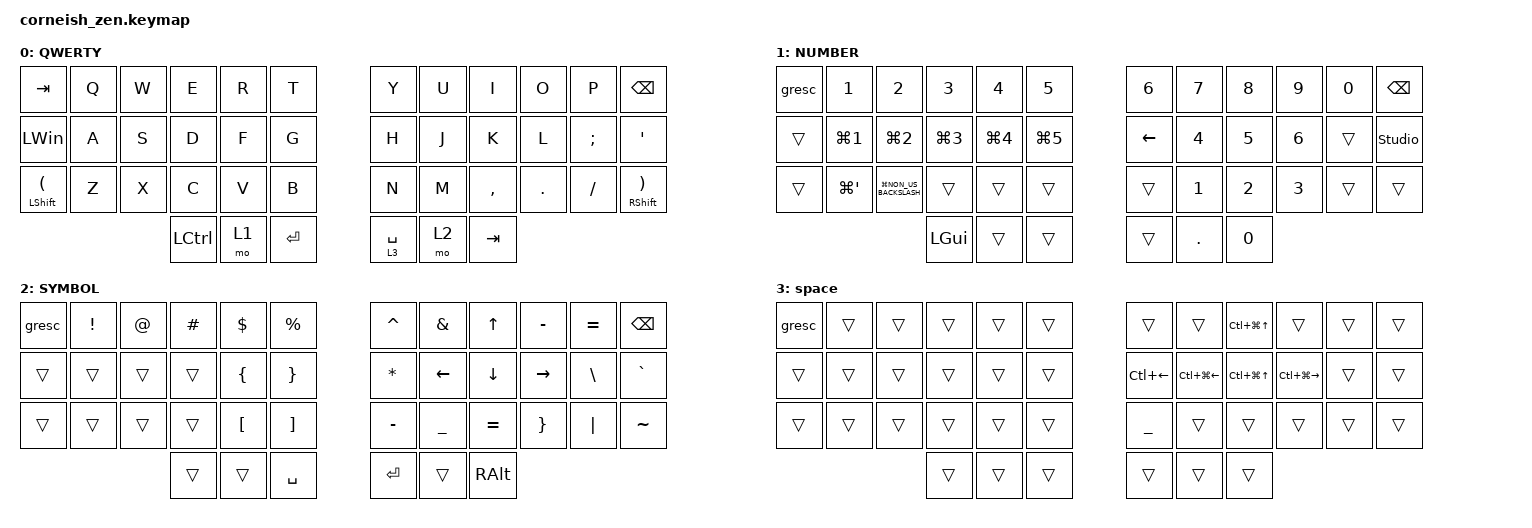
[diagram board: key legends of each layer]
#include <behaviors.dtsi>
#include <dt-bindings/zmk/keys.h>

/ {
    chosen {
        zmk,physical-layout = &foostan_corne_6col_layout;

        // zmk,physical-layout = &foostan_corne_5col_layout;
    };
};

/ {
    keymap {
        compatible = "zmk,keymap";

        default_layer {
            display-name = "QWERTY";

            // --------------------------------------------------------------------------------
            // |  TAB |  Q  |  W  |  E  |  R  |  T  |   |  Y  |  U   |  I  |  O  |  P  | BSPC |
            // | CTRL |  A  |  S  |  D  |  F  |  G  |   |  H  |  J   |  K  |  L  |  ;  |  '   |
            // | SHFT |  Z  |  X  |  C  |  V  |  B  |   |  N  |  M   |  ,  |  .  |  /  | ESC  |
            //                    | GUI | LWR | SPC |   | ENT | RSE  | ALT |

            bindings = <
&kp TAB                     &kp Q  &kp W  &kp E      &kp R  &kp T        &kp Y        &kp U  &kp I      &kp O    &kp P     &kp BSPC
&kp LEFT_WIN                &kp A  &kp S  &kp D      &kp F  &kp G        &kp H        &kp J  &kp K      &kp L    &kp SEMI  &kp SQT
&mt LSHFT LEFT_PARENTHESIS  &kp Z  &kp X  &kp C      &kp V  &kp B        &kp N        &kp M  &kp COMMA  &kp DOT  &kp FSLH  &mt RIGHT_SHIFT RIGHT_PARENTHESIS
                                          &kp LCTRL  &mo 1  &kp ENTER    &lt 3 SPACE  &mo 2  &kp TAB
            >;
        };

        lower_layer {
            display-name = "NUMBER";

            // -----------------------------------------------------------------------------------------
            // |  TAB |  1  |  2  |  3  |  4  |  5  |   |  6  |  7  |  8  |  9  |  0  | BSPC |
            // | BTCLR| BT1 | BT2 | BT3 | BT4 | BT5 |   | LFT | DWN |  UP | RGT |     |Studio|
            // | SHFT |     |     |     |     |     |   |     |     |     |     |     |      |
            //                    | GUI |     | SPC |   | ENT |     | ALT |

            bindings = <
&gresc  &kp N1            &kp N2                    &kp N3            &kp N4            &kp N5        &kp N6    &kp N7        &kp N8        &kp N9        &kp N0  &kp BSPC
&trans  &kp LG(NUMBER_1)  &kp LG(NUMBER_2)          &kp LG(NUMBER_3)  &kp LG(NUMBER_4)  &kp LG(N5)    &kp LEFT  &kp NUMBER_4  &kp N5        &kp NUMBER_6  &trans  &studio_unlock
&trans  &kp LG(SQT)       &kp LG(NON_US_BACKSLASH)  &trans            &trans            &trans        &trans    &kp NUMBER_1  &kp NUMBER_2  &kp NUMBER_3  &trans  &trans
                                                    &kp LGUI          &trans            &trans        &trans    &kp PERIOD    &kp N0
            >;
        };

        raise_layer {
            display-name = "SYMBOL";

            // -----------------------------------------------------------------------------------------
            // |  TAB |  !  |  @  |  #  |  $  |  %  |   |  ^  |  &  |  *  |  (  |  )  | BSPC |
            // | CTRL |     |     |     |     |     |   |  -  |  =  |  [  |  ]  |  \  |  `   |
            // | SHFT |     |     |     |     |     |   |  _  |  +  |  {  |  }  | "|" |  ~   |
            //                    | GUI |     | SPC |   | ENT |     | ALT |

            bindings = <
&gresc  &kp EXCL  &kp AT  &kp HASH  &kp DLLR          &kp PERCENT          &kp CARET  &kp AMPS        &kp UP_ARROW  &kp MINUS  &kp EQUAL  &kp BSPC
&trans  &trans    &trans  &trans    &kp LEFT_BRACE    &kp RIGHT_BRACE      &kp ASTRK  &kp LEFT        &kp DOWN      &kp RIGHT  &kp BSLH   &kp GRAVE
&trans  &trans    &trans  &trans    &kp LEFT_BRACKET  &kp RIGHT_BRACKET    &kp MINUS  &kp UNDERSCORE  &kp EQUAL     &kp RBRC   &kp PIPE   &kp TILDE
                          &trans    &trans            &kp SPACE            &kp RET    &trans          &kp RALT
            >;
        };

        space {
            bindings = <
&gresc  &trans  &trans  &trans  &trans  &trans    &trans              &trans            &kp LC(LG(UP_ARROW))  &trans             &trans  &trans
&trans  &trans  &trans  &trans  &trans  &trans    &kp LC(LEFT_ARROW)  &kp LC(LG(LEFT))  &kp LC(LG(UP_ARROW))  &kp LC(LG(RIGHT))  &trans  &trans
&trans  &trans  &trans  &trans  &trans  &trans    &kp UNDER           &trans            &trans                &trans             &trans  &trans
                        &trans  &trans  &trans    &trans              &trans            &trans
            >;
        };
    };
};
